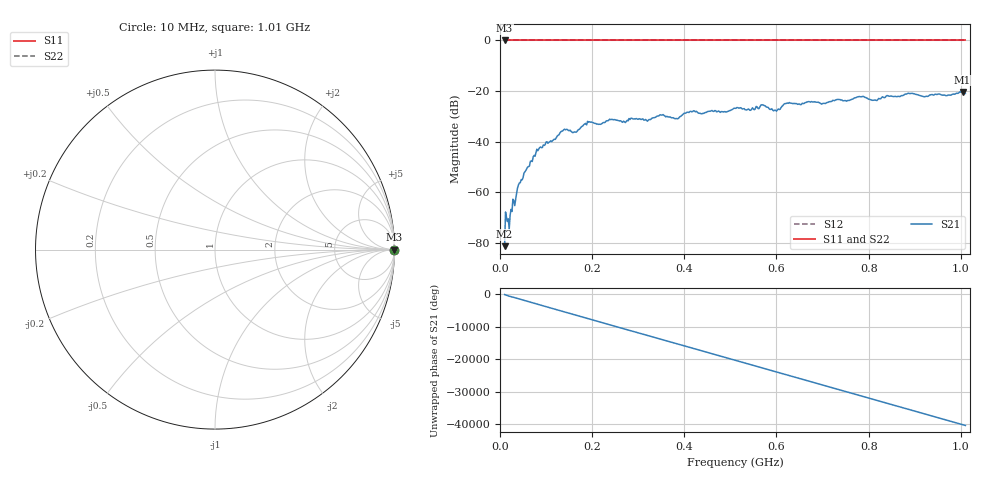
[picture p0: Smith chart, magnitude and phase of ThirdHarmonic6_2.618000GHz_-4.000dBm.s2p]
! 8/17/2025 5:46:23 AM
! C:\ANRITSUVNA\TEMP\TEMP.S2P
! CHANNEL.1
! TR.MEASUREMENT
! RAW.DATA
! RF.CORRECTION.OFF
! AVERAGING.OFF
! IF.BANDWIDTH: 5KHZ
! SWEEPTYPE:  FREQ.SWEEP(Linear)
! Reference Plane Port Info
! PORT:  PORT1  PORT2
! DISTANCE:  0  m  0  m
! TIME:  0  s  0  s
! PHASE.OFFSET:  0  deg.  0  deg.
! LOSS:  0  dB  0  dB
! REF.LOSS:  0  dB  0  dB
! REF.FREQ:  0  Hz  0  Hz
! Power Info
! POWER:  -20  dBm  -20  dBm
! EFF.POWER:  -20  dBm  -20  dBm
! SOURCE.ATTEN:  0  dB  0  dB
! TEST.ATTEN:  0  dB  0  dB
# GHZ S RI R 50.0
! FREQ.GHZ  S11RE  S11IM  S21RE  S21IM  S12RE  S12IM  S22RE  S22IM
!; PortSelection: Port_12
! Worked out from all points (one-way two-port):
!   501 points, 10 MHz to 1.01 GHz, reference 50 ohm
!   highest |S21| = -20.33 dB at 1.004 GHz (marker M1); lowest = -81.3 dB at 10 MHz (marker M2)
!   lowest |S11| = 0.0 dB at 10 MHz (marker M3)
!   |S11| at or under -10 dB: nowhere
!   |S22| runs from 0.0 to 0.0 dB; largest |S21 - S12| = 1.1
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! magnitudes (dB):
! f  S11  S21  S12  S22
! 10 MHz  0.0  -81.3  0.0  0.0
! 22 MHz  0.0  -69.0  0.0  0.0
! 42 MHz  0.0  -56.4  0.0  0.0
! 82 MHz  0.0  -43.6  0.0  0.0
! 136 MHz  0.0  -35.8  0.0  0.0
! 162 MHz  0.0  -36.1  0.0  0.0
! 178 MHz  0.0  -34.0  0.0  0.0
! 194 MHz  0.0  -32.1  0.0  0.0
! 322 MHz  0.0  -31.5  0.0  0.0
! 344 MHz  0.0  -29.9  0.0  0.0
! 384 MHz  0.0  -30.9  0.0  0.0
! 416 MHz  0.0  -28.2  0.0  0.0
! 510 MHz  0.0  -26.8  0.0  0.0
! 570 MHz  0.0  -25.5  0.0  0.0
! 598 MHz  0.0  -27.6  0.0  0.0
! 620 MHz  0.0  -24.9  0.0  0.0
! 678 MHz  0.0  -24.3  0.0  0.0
! 784 MHz  0.0  -22.3  0.0  0.0
! 814 MHz  0.0  -23.6  0.0  0.0
! 844 MHz  0.0  -22.0  0.0  0.0
! 1.004 GHz  0.0  -20.3  0.0  0.0
! 1.01 GHz  0.0  -21.0  0.0  0.0
